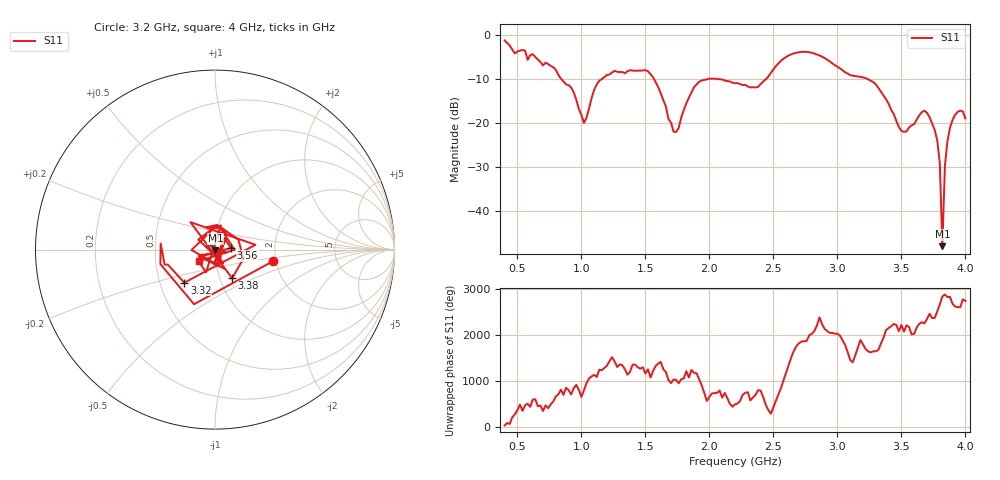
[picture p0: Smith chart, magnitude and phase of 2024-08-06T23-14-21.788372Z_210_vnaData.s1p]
!Created with skrf (http://scikit-rf.org).
# Hz S RI R 50.0
!freq ReS11 ImS11
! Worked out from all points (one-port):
!   181 points, 400 MHz to 4 GHz, reference 50 ohm
!   lowest |S11| = -48.0 dB at 3.82 GHz (marker M1), VSWR 1.01, Z = 50.3 - j0.296 ohm
!   |S11| at or under -10 dB: 1.567 GHz to 1.987 GHz (420 MHz wide, 23.6 % of centre); 2.07 GHz to 2.442 GHz (371.6 MHz wide, 16.5 % of centre); 3.237 GHz to end of sweep (the widest 3 of 4)
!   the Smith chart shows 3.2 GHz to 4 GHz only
!   S11 on the Smith chart (normalised r, x): 3.2 GHz: 1.93, -0.28; 3.32 GHz: 0.67, -0.26; 3.38 GHz: 1.14, -0.38; 3.56 GHz: 1.19, +0.02; 4 GHz: 0.83, -0.11
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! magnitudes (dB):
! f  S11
! 400 MHz  -1.2
! 860 MHz  -10.6
! 940 MHz  -13.0
! 1.02 GHz  -20.0
! 1.14 GHz  -10.4
! 1.3 GHz  -8.4
! 1.52 GHz  -8.2
! 1.6 GHz  -11.8
! 1.72 GHz  -22.0
! 1.76 GHz  -21.1
! 1.92 GHz  -10.6
! 2.2 GHz  -10.9
! 2.38 GHz  -11.8
! 2.66 GHz  -4.1
! 3.1 GHz  -9.1
! 3.2 GHz  -9.6
! 3.32 GHz  -12.0
! 3.38 GHz  -14.6
! 3.5 GHz  -21.8
! 3.56 GHz  -21.0
! 3.68 GHz  -17.2
! 3.76 GHz  -21.5
! 3.8 GHz  -29.1
! 3.82 GHz  -48.0
! 3.84 GHz  -29.7
! 3.86 GHz  -24.1
! 3.92 GHz  -18.1
! 4 GHz  -19.0
